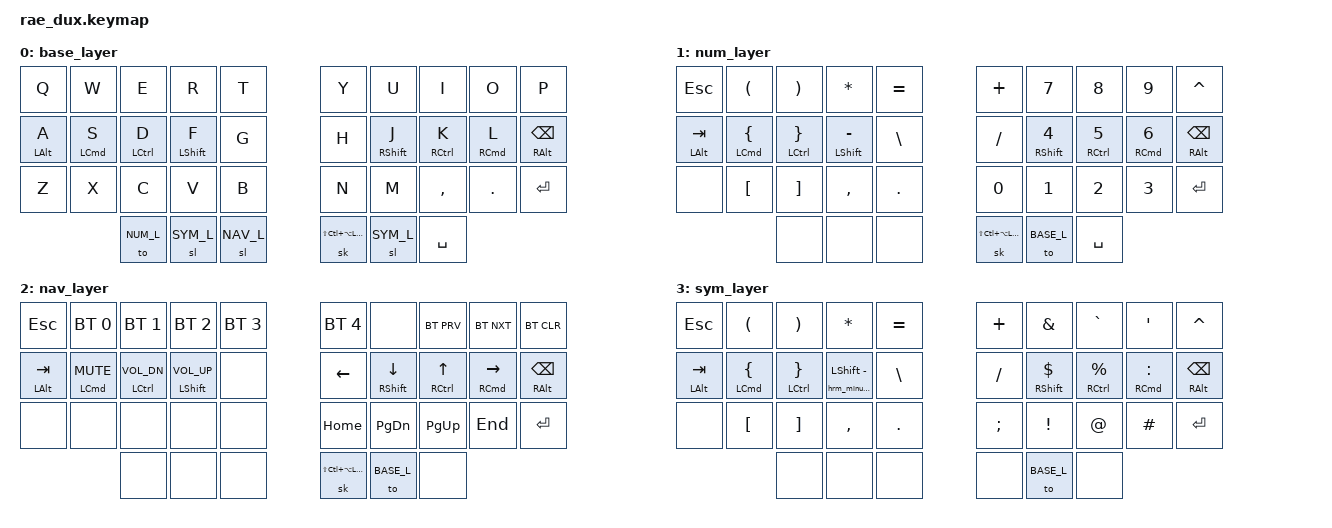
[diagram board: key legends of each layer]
/*
 * Copyright (c) 2021 The ZMK Contributors
 *
 * SPDX-License-Identifier: MIT
 */

#include <behaviors.dtsi>
#include <dt-bindings/zmk/bt.h>
#include <dt-bindings/zmk/keys.h>

&sk {
    release-after-ms = <750>;
    quick-release;
};

&caps_word {
    continue-list = <UNDERSCORE MINUS BSPC>;
};

#define STICKY_MOD_TAP(name)               \
name: name##_sticky_mod_tap {              \
    label = #name;                         \
    compatible = "zmk,behavior-hold-tap";  \
    #binding-cells = <2>;                  \
    flavor = "balanced";                   \
    tapping-term-ms = <175>;               \
    quick-tap-ms = <150>;                  \
    global-quick-tap;                      \
    bindings = <&sk>, <&kp>;      \
};

#define STICKY_LAYER_TAP(name)               \
name: name##_sticky_mod_tap {              \
    label = #name;                         \
    compatible = "zmk,behavior-hold-tap";  \
    #binding-cells = <2>;                  \
    flavor = "balanced";                   \
    tapping-term-ms = <175>;               \
    quick-tap-ms = <150>;                  \
    global-quick-tap;                      \
    bindings = <&sl>, <&kp>;      \
};

#define HOME_ROW_MOD(name)                 \
name: name##_home_row_mod {                \
    label = #name;                         \
    compatible = "zmk,behavior-hold-tap";  \
    #binding-cells = <2>;                  \
    flavor = "tap-preferred";              \
    tapping-term-ms = <200>;               \
    quick-tap-ms = <175>;                  \
    global-quick-tap;                      \
    bindings = <&kp>, <&kp>;               \
};

#define BASE_L  0
#define NUM_L   1
#define NAV_L   2
#define SYM_L   3

#define MEHK(KEY) LS(LC(LA(LG(KEY))))
#define MEH       LS(LC(LA(LMETA)))

/ {
    macros {
        ZMK_MACRO(scope, wait-ms = <30>; tap-ms = <30>; bindings = <&kp COLON &kp COLON>;)
        ZMK_MACRO(lambda, wait-ms = <30>; tap-ms = <30>; bindings = <&kp L &kp A &kp M &kp B &kp D &kp A>;)
    };

    combos {
        compatible = "zmk,combos";

        #define COMBO(NAME, BINDINGS, KEYPOS, TIMEOUT) \
              combo_##NAME { \
                timeout-ms = <TIMEOUT>; \
                bindings = <BINDINGS>; \
                key-positions = <KEYPOS>; \
              };

        /*                KEY POSITIONS

          ╭────────────────────╮ ╭────────────────────╮
          │  0   1   2   3   4 │ │  5   6   7   8   9 │
          │ 10  11  12  13  14 │ │ 15  16  17  18  19 │
          │ 20  21  22  23  24 │ │ 25  26  27  28  29 │
          ╰───────╮ 30  31  32 │ │ 33  34  35 ╭───────╯
                  ╰────────────╯ ╰────────────╯        */

        // COMBO(grave, &kp GRAVE, 1 2, 60)
        // COMBO(colon, &kp COLON, 7 8, 60)
        // COMBO(equal, &kp EQUAL, 21 22, 60)
        // COMBO(semicolon, &kp SEMI, 27 28, 60)

        // COMBO(minus, &kp MINUS, 31 34, 60)
        // COMBO(underscore, &kp UNDER, 32 33, 60)

    };

    behaviors {
        spc_rt: spc_rt {
            compatible = "zmk,behavior-hold-tap";
            label = "SPC_RT";
            #binding-cells = <2>;
            flavor = "tap-preferred";
            tapping-term-ms = <175>;
            quick-tap-ms = <150>;
            bindings = <&mo>, <&kp>;
        };

        bspc_num: bspc_num {
            compatible = "zmk,behavior-hold-tap";
            label = "BSPC_NUM";
            #binding-cells = <2>;
            flavor = "tap-preferred";
            tapping-term-ms = <175>;
            quick-tap-ms = <150>;
            bindings = <&mo>, <&kp>;
        };

        // Ctrl < Option < Command < Shift
        STICKY_MOD_TAP(sk_A)
        STICKY_MOD_TAP(sk_R)
        STICKY_MOD_TAP(sk_S)
        STICKY_MOD_TAP(sk_T)
        STICKY_MOD_TAP(sk_O)
        STICKY_MOD_TAP(sk_I)
        STICKY_MOD_TAP(sk_E)
        STICKY_MOD_TAP(sk_N)
        STICKY_MOD_TAP(sk_RET_MEH)
        STICKY_MOD_TAP(sk_MUTE)
        STICKY_LAYER_TAP(sl_L_SYM_C)
        STICKY_LAYER_TAP(sl_R_SYM_D)

        // Home row mods for base_layer
        HOME_ROW_MOD(hrm_a)    // A with
        HOME_ROW_MOD(hrm_s)    // S with
        HOME_ROW_MOD(hrm_d)    // D with
        HOME_ROW_MOD(hrm_f)    // F with
        HOME_ROW_MOD(hrm_j)    // J with
        HOME_ROW_MOD(hrm_k)    // K with
        HOME_ROW_MOD(hrm_l)    // L with
        HOME_ROW_MOD(hrm_bspc)// BSPC with

        // Home row mods for num_layer
        HOME_ROW_MOD(hrm_tab)   // TAB with
        HOME_ROW_MOD(hrm_rbrc)  // LBRC with
        HOME_ROW_MOD(hrm_lbrc)  // RBRC with
        HOME_ROW_MOD(hrm_minus) // MINUS with
        HOME_ROW_MOD(hrm_n4)    // N4 with
        HOME_ROW_MOD(hrm_n5)    // N5 with
        HOME_ROW_MOD(hrm_n6)    // N6 with

        // Home row mods for sym_layer
        HOME_ROW_MOD(hrm_minus_sym) // MINUS with (sym layer)
        HOME_ROW_MOD(hrm_dllr)      // DLLR with
        HOME_ROW_MOD(hrm_prcnt)     // PRCNT with
        HOME_ROW_MOD(hrm_colon)     // COLON with

        // Home row mods for nav_layer
        HOME_ROW_MOD(hrm_mute)    // C_MUTE with
        HOME_ROW_MOD(hrm_voldn)   // C_VOL_DN with
        HOME_ROW_MOD(hrm_volup)   // C_VOL_UP with
        HOME_ROW_MOD(hrm_down)     // DOWN with
        HOME_ROW_MOD(hrm_up)       // UP with
        HOME_ROW_MOD(hrm_right)   // RIGHT with
    };

    // behaviors {
    //     td_q_esc: td_q_esc {
    //               compatible = "zmk,behavior-tap-dance";
    //               label = "TD_Q_ESC";
    //               #binding-cells = <0>;
    //               tapping-term-ms = <400>;
    //               bindings = <&kp Q>, <&kp ESC>;
    //     };

    //     td_flsh_L: td_fslh_L {
    //                compatible = "zmk,behavior-tap-dance";
    //                label = "TD_FSLH_L";
    //                #binding-cells = <0>;
    //                tapping-term-ms = <400>;
    //                bindings = <&kp FSLH>, <&kp LEFT>;
    //     };

    //     td_dllr_D: td_dllr_D {
    //                compatible = "zmk,behavior-tap-dance";
    //                label = "TD_DLLR_D";
    //                #binding-cells = <0>;
    //                tapping-term-ms = <400>;
    //                bindings = <&kp DLLR>, <&kp DOWN>;
    //     };

    //     td_prcnt_U: td_prcnt_U {
    //                compatible = "zmk,behavior-tap-dance";
    //                label = "TD_PRCNT_D";
    //                #binding-cells = <0>;
    //                tapping-term-ms = <400>;
    //                bindings = <&kp PRCNT>, <&kp UP>;
    //     };

    //     td_COLON_R: td_COLON_R {
    //                compatible = "zmk,behavior-tap-dance";
    //                label = "TD_COLON_R";
    //                #binding-cells = <0>;
    //                tapping-term-ms = <400>;
    //                bindings = <&kp COLON>, <&kp RIGHT>;
    //     };

    // };

    keymap {
        compatible = "zmk,keymap";

        base_layer {
            bindings = <
                   &kp Q              &kp W           &kp E            &kp R            &kp T       /**/   &kp Y         &kp U                 &kp I            &kp O            &kp P
                   &hrm_a LALT A      &hrm_s LCMD S   &hrm_d LCTRL D   &hrm_f LSHFT F   &kp G       /**/   &kp H         &hrm_j RSHFT J        &hrm_k RCTRL K   &hrm_l RCMD L    &hrm_bspc RALT BSPC
                   &kp Z              &kp X           &kp C            &kp V            &kp B       /**/   &kp N         &kp M                 &kp COMMA        &kp DOT          &kp RETURN
                 /*&                  &*/             &to NUM_L        &sl SYM_L        &sl NAV_L   /**/   &sk MEH       &sl SYM_L             &kp SPC        /*&                &*/
            >;
        };

         num_layer {
            bindings = <
                   &kp ESC              &kp LPAR            &kp RPAR             &kp ASTRK              &kp EQUAL  /**/   &kp PLUS       &kp N7              &kp N8            &kp N9            &kp CARET
                   &hrm_tab LALT TAB    &hrm_lbrc LCMD LBRC &hrm_rbrc LCTRL RBRC &hrm_minus LSHFT MINUS &kp BSLH   /**/   &kp FSLH       &hrm_n4 RSHFT N4    &hrm_n5 RCTRL N5  &hrm_n6 RCMD N6   &hrm_bspc RALT BSPC
                   &none                &kp LBKT            &kp RBKT             &kp COMMA              &kp DOT    /**/   &kp N0         &kp N1              &kp N2            &kp N3            &kp RETURN
                 /*&                    &*/                 &none                &none                  &none      /**/   &sk MEH        &to BASE_L          &kp SPC         /*&                 &*/
            >;
        };

        nav_layer {
            bindings = <
                   &kp ESC              &bt BT_SEL 0          &bt BT_SEL 1              &bt BT_SEL 2              &bt BT_SEL 3 /**/   &bt BT_SEL 4   &none                 &bt BT_PRV       &bt BT_NXT            &bt BT_CLR
                   &hrm_tab LALT TAB    &hrm_mute LCMD C_MUTE &hrm_voldn LCTRL C_VOL_DN &hrm_volup LSHFT C_VOL_UP &none        /**/   &kp LEFT       &hrm_down RSHIFT DOWN &hrm_up RCTRL UP &hrm_right RCMD RIGHT &hrm_bspc RALT BSPC
                   &none                &none                 &none                     &none                     &none        /**/   &kp HOME       &kp PG_DN             &kp PG_UP        &kp END               &kp RETURN
                 /*&                    &*/                   &none                     &none                     &none        /**/   &sk MEH        &to BASE_L            &none          /*&                     &*/
            >;
        };

        sym_layer {
            bindings = <
                   &kp ESC              &kp LPAR            &kp RPAR             &kp ASTRK                  &kp EQUAL  /**/   &kp PLUS       &kp AMPS             &kp GRAVE              &kp SQT               &kp CARET
                   &hrm_tab LALT TAB    &hrm_lbrc LCMD LBRC &hrm_rbrc LCTRL RBRC &hrm_minus_sym LSHFT MINUS &kp BSLH   /**/   &kp FSLH       &hrm_dllr RSHFT DLLR &hrm_prcnt RCTRL PRCNT &hrm_colon RCMD COLON &hrm_bspc RALT BSPC
                   &none                &kp LBKT            &kp RBKT             &kp COMMA                  &kp DOT    /**/   &kp SEMI       &kp EXCL             &kp AT                 &kp HASH              &kp RETURN
                 /*&                    &*/                 &none                &none                      &none      /**/   &none          &to BASE_L           &none                /*&                     &*/
            >;
        };
    };
};
